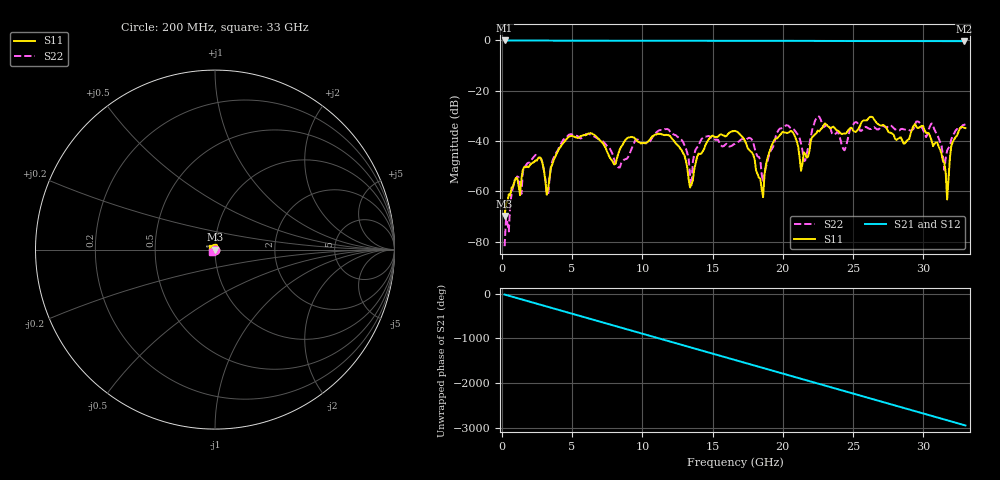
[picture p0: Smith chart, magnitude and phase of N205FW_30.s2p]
# GHZ S RI R 50
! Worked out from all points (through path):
!   329 points, 200 MHz to 33 GHz, reference 50 ohm
!   highest |S21| = -0.02 dB at 200 MHz (marker M1); lowest = -0.3 dB at 32.9 GHz (marker M2)
!   group delay of S21, straight-line fit = 248 ps
!   lowest |S11| = -69.8 dB at 200 MHz (marker M3), VSWR 1.00, Z = 50 - j0.00808 ohm
!   |S11| at or under -10 dB: start of sweep to end of sweep
!   |S22| runs from -81.8 to -30.1 dB; largest |S21 - S12| = 0.0022
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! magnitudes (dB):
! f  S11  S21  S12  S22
! 200 MHz  -69.8  0.0  0.0  -81.8
! 1.1 GHz  -54.7  0.0  0.0  -54.1
! 2.4 GHz  -47.7  -0.1  -0.1  -45.5
! 3.3 GHz  -58.9  -0.1  -0.1  -61.4
! 4.3 GHz  -41.3  -0.1  -0.1  -40.2
! 5.7 GHz  -37.9  -0.1  -0.1  -38.8
! 8.4 GHz  -43.3  -0.1  -0.1  -50.5
! 11.2 GHz  -37.1  -0.1  -0.1  -35.7
! 13.4 GHz  -58.5  -0.2  -0.2  -53.3
! 14.4 GHz  -43.2  -0.2  -0.2  -38.2
! 16.6 GHz  -36.0  -0.2  -0.2  -41.2
! 18.6 GHz  -62.3  -0.2  -0.2  -56.3
! 19.4 GHz  -39.5  -0.2  -0.2  -40.9
! 20.7 GHz  -36.4  -0.2  -0.2  -35.2
! 21.3 GHz  -51.8  -0.2  -0.2  -40.9
! 22.1 GHz  -38.4  -0.2  -0.2  -35.4
! 27.6 GHz  -36.6  -0.2  -0.2  -33.7
! 30 GHz  -34.1  -0.2  -0.2  -35.6
! 31.7 GHz  -63.2  -0.2  -0.2  -43.8
! 32 GHz  -41.8  -0.2  -0.2  -39.2
! 32.9 GHz  -34.7  -0.3  -0.3  -33.5
! 33 GHz  -34.9  -0.3  -0.3  -33.3
